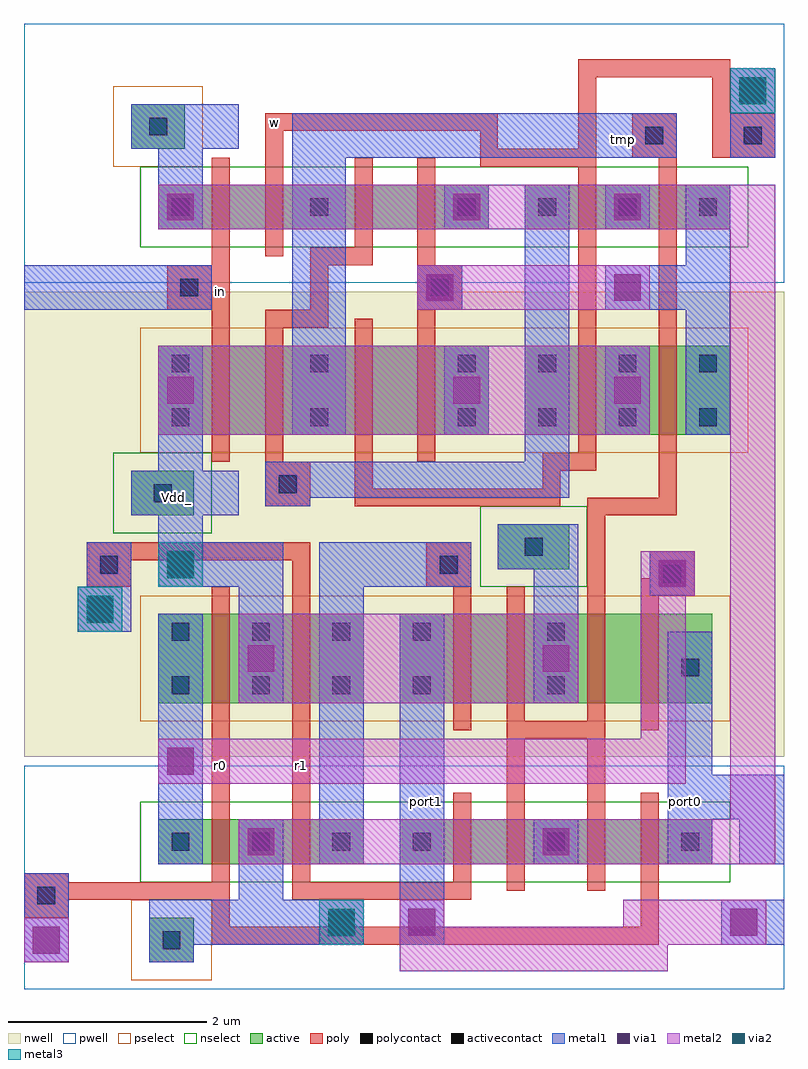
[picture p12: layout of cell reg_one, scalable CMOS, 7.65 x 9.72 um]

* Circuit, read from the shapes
.subckt reg_one Vdd_ in port0 port1 r0 r1 tmp w
M1 VSUBS r0 n1 VSUBS nfet w=0.45u l=0.18u
M2 n2 in VSUBS VSUBS nfet w=0.45u l=0.18u
M3 tmp w n2 VSUBS nfet w=0.45u l=0.18u
M4 n3 r1 VSUBS VSUBS nfet w=0.45u l=0.18u
M5 n4 n5 tmp VSUBS nfet w=0.45u l=0.18u
M6 VSUBS n6 n4 VSUBS nfet w=0.45u l=0.18u
M7 n7 r1 port1 VSUBS nfet w=0.45u l=0.18u
M8 VSUBS tmp n7 VSUBS nfet w=0.45u l=0.18u
M9 VSUBS w n5 VSUBS nfet w=0.45u l=0.18u
M10 n8 tmp VSUBS VSUBS nfet w=0.45u l=0.18u
M11 port0 r0 n8 VSUBS nfet w=0.45u l=0.18u
M12 n6 tmp VSUBS VSUBS nfet w=0.45u l=0.18u
M13 Vdd_ r0 n1 Vdd_ pfet w=0.9u l=0.18u
M14 n9 in Vdd_ Vdd_ pfet w=0.9u l=0.18u
M15 tmp n5 n9 Vdd_ pfet w=0.9u l=0.18u
M16 n3 r1 Vdd_ Vdd_ pfet w=0.9u l=0.18u
M17 n10 w tmp Vdd_ pfet w=0.9u l=0.18u
M18 Vdd_ n6 n10 Vdd_ pfet w=0.9u l=0.18u
M19 n11 n3 port1 Vdd_ pfet w=0.9u l=0.18u
M20 Vdd_ tmp n11 Vdd_ pfet w=0.9u l=0.18u
M21 Vdd_ w n5 Vdd_ pfet w=0.9u l=0.18u
M22 n12 tmp Vdd_ Vdd_ pfet w=0.9u l=0.18u
M23 port0 n1 n12 Vdd_ pfet w=0.9u l=0.18u
M24 n6 tmp Vdd_ Vdd_ pfet w=0.9u l=0.18u
.ends

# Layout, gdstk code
import gdstk
lib = gdstk.Library(unit=1e-6, precision=1e-09)
def R(c, l, rs):  # rectangles x0, y0, x1, y1
    for r in rs: c.add(gdstk.rectangle(r[:2], r[2:], *l))
def A(c, l, x, y, w, h, nx, ny, dx, dy):  # array of equal rectangles
    R(c, l, [(x+i*dx, y+j*dy, x+i*dx+w, y+j*dy+h) for i in range(nx) for j in range(ny)])
pwell = (41, 0)
nwell = (42, 0)
active = (43, 0)
pselect = (44, 0)
nselect = (45, 0)
poly = (46, 0)
polycontact = (47, 0)
activecontact = (48, 0)
metal1 = (49, 0)
via1 = (50, 0)
metal2 = (51, 0)
via2 = (61, 0)
metal3 = (62, 0)

reg_one = lib.new_cell('reg_one')
R(reg_one, pwell, [(-0.99,-2.43,6.66,-0.18), (-0.99,4.68,6.66,7.29)])
R(reg_one, nwell, [(-0.99,-0.09,6.66,4.59)])
R(reg_one, active, [(0.27,-2.16,0.72,-1.71), (0.36,-1.17,2.43,-0.72), (2.79,-1.17,5.94,-0.72), (0.36,0.45,2.43,1.35), (2.79,0.45,5.94,1.35), (3.78,1.8,4.5,2.25), (0.09,2.34,0.72,2.79), (0.36,3.15,3.69,4.05), (4.05,3.15,6.12,4.05), (0.36,5.22,3.69,5.67), (4.05,5.22,6.12,5.67), (0.09,6.03,0.63,6.48)])
R(reg_one, pselect, [(0.09,-2.34,0.9,-1.53), (0.18,0.27,6.12,1.53), (0.18,2.97,6.3,4.23), (-0.09,5.85,0.81,6.66)])
R(reg_one, nselect, [(0.18,-1.35,6.12,-0.54), (3.6,1.62,4.68,2.43), (-0.09,2.16,0.9,2.97), (0.18,5.04,6.3,5.85)])
R(reg_one, poly, [(0.9,-1.98,5.4,-1.8), (0.9,-1.8,1.08,-1.53), (5.22,-1.8,5.4,-0.45), (-0.99,-1.71,-0.54,-1.53), (-0.99,-1.53,1.08,-1.35), (1.71,-1.53,3.51,-1.35), (3.87,-1.44,4.05,0.09), (4.68,-1.44,4.86,0.09), (-0.99,-1.35,-0.54,-1.26), (0.9,-1.35,1.08,1.62), (1.71,-1.35,1.89,1.89), (3.33,-1.35,3.51,-0.45), (3.87,0.09,4.86,0.27), (3.33,0.18,3.51,1.62), (5.22,0.18,5.4,1.53), (3.87,0.27,4.05,1.62), (4.68,0.27,4.86,2.34), (5.22,1.53,5.76,1.71), (-0.36,1.62,0.09,1.89), (3.06,1.62,3.51,2.07), (5.31,1.71,5.76,1.98), (-0.36,1.89,1.89,2.07), (4.68,2.34,5.58,2.52), (1.44,2.43,1.89,2.88), (2.34,2.43,4.41,2.61), (5.4,2.52,5.58,5.94), (2.34,2.61,2.52,4.32), (4.23,2.61,4.41,2.79), (4.23,2.79,4.77,2.97), (0.9,2.88,1.08,4.41), (1.44,2.88,1.62,4.23), (2.97,2.88,3.15,4.41), (4.59,2.97,4.77,5.85), (1.44,4.23,2.07,4.41), (0.45,4.41,1.08,4.86), (1.89,4.41,2.07,4.86), (2.97,4.41,3.42,4.86), (0.9,4.86,1.08,5.94), (1.89,4.86,2.52,5.04), (2.97,4.86,3.15,5.94), (1.44,4.95,1.62,6.21), (2.34,5.04,2.52,5.94), (3.6,5.85,4.77,6.03), (5.13,5.94,5.58,6.39), (5.94,5.94,6.57,6.39), (3.6,6.03,3.78,6.21), (4.59,6.03,4.77,6.75), (1.44,6.21,3.78,6.39), (5.94,6.39,6.12,6.75), (4.59,6.75,6.12,6.93)])
R(reg_one, polycontact, [(-0.855,-1.575,-0.675,-1.395), (5.445,1.665,5.625,1.845), (-0.225,1.755,-0.045,1.935), (3.195,1.755,3.375,1.935), (1.575,2.565,1.755,2.745), (0.585,4.545,0.765,4.725), (3.105,4.545,3.285,4.725), (5.265,6.075,5.445,6.255), (6.255,6.075,6.435,6.255)])
A(reg_one, activecontact, 0.495, -1.035, 0.18, 0.18, 4, 2, 0.81, 1.575)
A(reg_one, activecontact, 0.495, 1.08, 0.18, 0.18, 4, 1, 0.81, 0)
A(reg_one, activecontact, 3.375, 3.24, 0.18, 0.18, 4, 2, 0.81, 0.54)
A(reg_one, activecontact, 3.375, 5.355, 0.18, 0.18, 4, 1, 0.81, 0)
R(reg_one, activecontact, [(0.405,-2.025,0.585,-1.845), (4.275,-1.035,4.455,-0.855), (5.625,-1.035,5.805,-0.855), (4.275,0.54,4.455,0.72), (5.625,0.72,5.805,0.9), (4.275,1.08,4.455,1.26), (4.05,1.935,4.23,2.115), (0.315,2.475,0.495,2.655), (0.495,3.24,0.675,3.42), (1.89,3.24,2.07,3.42), (0.495,3.78,0.675,3.96), (1.89,3.78,2.07,3.96), (0.495,5.355,0.675,5.535), (1.89,5.355,2.07,5.535), (0.27,6.165,0.45,6.345)])
R(reg_one, metal1, [(-0.99,-2.16,-0.54,-1.26), (0.27,-2.16,0.72,-1.98), (0.27,-1.98,2.43,-1.53), (2.79,-1.98,3.24,1.35), (6.03,-1.98,6.66,-1.53), (1.17,-1.53,1.62,-0.72), (0.36,-1.17,0.81,1.35), (1.98,-1.17,2.43,1.62), (4.14,-1.17,4.59,-0.72), (5.49,-1.17,5.94,-0.72), (6.21,-1.17,6.66,-0.72), (5.49,-0.72,6.66,-0.27), (5.49,-0.27,5.94,1.17), (1.17,0.45,1.62,1.62), (4.14,0.45,4.59,1.8), (-0.45,1.17,0.09,1.62), (5.31,1.53,5.76,1.98), (-0.36,1.62,0.09,2.07), (0.36,1.62,1.62,2.07), (1.98,1.62,3.51,2.07), (3.78,1.8,4.59,2.25), (0.36,2.07,0.81,2.34), (0.09,2.34,1.17,2.79), (1.44,2.43,1.89,2.52), (1.44,2.52,4.5,2.88), (0.36,2.79,0.81,4.05), (4.05,2.88,4.5,5.67), (1.71,3.15,2.25,5.94), (3.24,3.15,3.69,4.05), (4.86,3.15,5.31,4.05), (5.67,3.15,6.12,4.41), (-0.99,4.41,0.9,4.86), (2.97,4.41,3.42,4.86), (4.86,4.41,6.12,4.86), (5.67,4.86,6.12,5.67), (0.36,5.22,0.81,6.03), (3.24,5.22,3.69,5.67), (4.86,5.22,5.31,5.67), (1.71,5.94,5.58,6.39), (6.12,5.94,6.57,6.84), (0.09,6.03,1.17,6.48)])
R(reg_one, via1, [(-0.9,-2.07,-0.63,-1.8), (2.07,-1.89,2.34,-1.62), (2.88,-1.89,3.15,-1.62), (6.12,-1.89,6.39,-1.62), (1.26,-1.08,1.53,-0.81), (4.23,-1.08,4.5,-0.81), (0.45,-0.27,0.72,0), (1.26,0.765,1.53,1.035), (4.23,0.765,4.5,1.035), (-0.36,1.26,-0.09,1.53), (5.4,1.62,5.67,1.89), (0.45,1.71,0.72,1.98), (0.45,3.465,0.72,3.735), (3.33,3.465,3.6,3.735), (4.95,3.465,5.22,3.735), (3.06,4.5,3.33,4.77), (4.95,4.5,5.22,4.77), (0.45,5.31,0.72,5.58), (3.33,5.31,3.6,5.58), (4.95,5.31,5.22,5.58), (6.21,6.48,6.48,6.75)])
R(reg_one, metal2, [(2.79,-2.25,5.49,-1.98), (-0.99,-2.16,-0.54,-1.71), (1.98,-1.98,2.43,-1.53), (2.79,-1.98,6.48,-1.8), (2.79,-1.8,3.24,-1.53), (5.04,-1.8,6.48,-1.53), (1.17,-1.17,6.57,-0.72), (6.12,-0.72,6.57,5.22), (0.36,-0.36,5.67,0.09), (5.22,0.09,5.67,1.53), (1.17,0.45,4.59,1.35), (-0.45,1.17,0,1.62), (5.22,1.53,5.76,1.98), (0.36,1.62,0.81,2.07), (0.36,3.15,5.31,4.05), (2.97,4.41,5.31,4.86), (0.36,5.22,6.57,5.67), (6.12,6.39,6.57,6.84)])
R(reg_one, via2, [(2.07,-1.89,2.34,-1.62), (-0.36,1.26,-0.09,1.53), (0.45,1.71,0.72,1.98), (6.21,6.48,6.48,6.75)])
R(reg_one, metal3, [(1.98,-1.98,2.43,-1.53), (-0.45,1.17,0,1.62), (0.36,1.62,0.81,2.07), (6.12,6.39,6.57,6.84)])
reg_one.add(gdstk.Label('in', (0.99,4.59), layer=46, texttype=0))
reg_one.add(gdstk.Label('r0', (0.99,-0.18), layer=46, texttype=0))
reg_one.add(gdstk.Label('r1', (1.8,-0.18), layer=46, texttype=0))
reg_one.add(gdstk.Label('w', (1.53,6.3), layer=46, texttype=0))
reg_one.add(gdstk.Label('Vdd_', (0.54,2.52), layer=49, texttype=0))
reg_one.add(gdstk.Label('port0', (5.67,-0.54), layer=49, texttype=0))
reg_one.add(gdstk.Label('port1', (3.06,-0.54), layer=49, texttype=0))
reg_one.add(gdstk.Label('tmp', (5.04,6.12), layer=49, texttype=0))

lib.write_gds('reg_one.gds')
